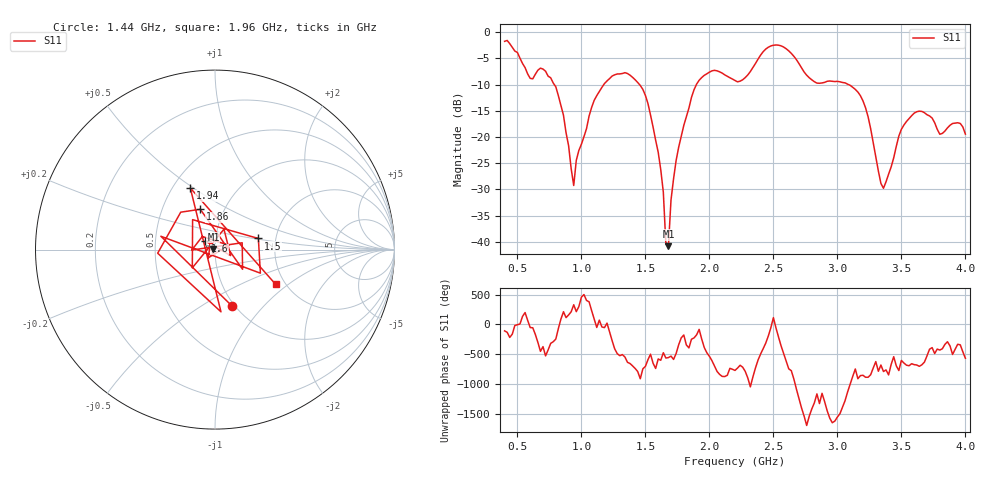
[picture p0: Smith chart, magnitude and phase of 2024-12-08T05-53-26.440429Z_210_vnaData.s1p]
!Created with skrf (http://scikit-rf.org).
# Hz S RI R 50.0
!freq ReS11 ImS11
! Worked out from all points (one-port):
!   181 points, 400 MHz to 4 GHz, reference 50 ohm
!   lowest |S11| = -40.9 dB at 1.68 GHz (marker M1), VSWR 1.02, Z = 49.1 + j0.276 ohm
!   |S11| at or under -10 dB: 788.4 MHz to 1.174 GHz (386 MHz wide, 39.3 % of centre); 1.454 GHz to 1.898 GHz (443.7 MHz wide, 26.5 % of centre); 3.088 GHz to end of sweep
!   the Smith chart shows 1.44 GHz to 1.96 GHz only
!   S11 on the Smith chart (normalised r, x): 1.44 GHz: 0.97, -0.69; 1.5 GHz: 1.62, +0.21; 1.6 GHz: 0.89, +0.09; 1.86 GHz: 0.77, +0.37; 1.94 GHz: 0.61, +0.49; 1.96 GHz: 1.78, -0.81
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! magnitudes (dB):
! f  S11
! 400 MHz  -1.7
! 600 MHz  -8.8
! 720 MHz  -7.4
! 860 MHz  -15.9
! 940 MHz  -29.3
! 960 MHz  -24.5
! 1.1 GHz  -13.0
! 1.3 GHz  -7.9
! 1.44 GHz  -9.6
! 1.5 GHz  -12.1
! 1.6 GHz  -22.9
! 1.64 GHz  -30.5
! 1.66 GHz  -40.5
! 1.68 GHz  -40.9
! 1.7 GHz  -32.0
! 1.76 GHz  -21.9
! 1.86 GHz  -12.4
! 1.94 GHz  -8.6
! 1.96 GHz  -8.2
! 2.2 GHz  -9.2
! 2.48 GHz  -2.6
! 2.66 GHz  -4.6
! 2.84 GHz  -9.7
! 3.1 GHz  -10.1
! 3.22 GHz  -14.4
! 3.36 GHz  -29.8
! 3.56 GHz  -16.5
! 4 GHz  -19.5
